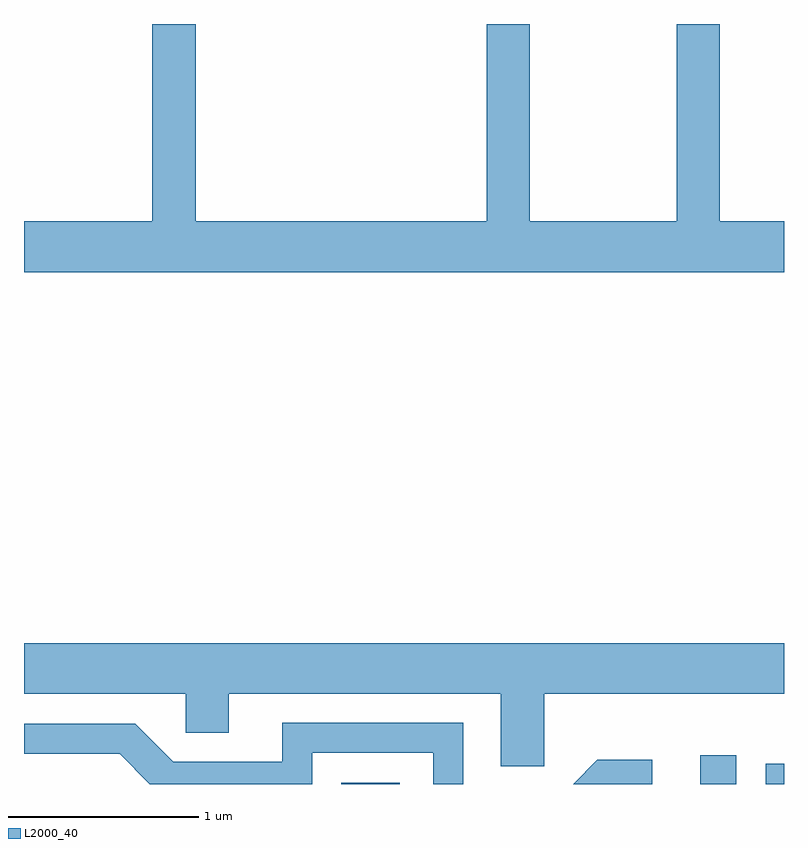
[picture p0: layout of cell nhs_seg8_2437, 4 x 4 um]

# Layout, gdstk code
import gdstk
lib = gdstk.Library(unit=1e-6, precision=1e-09)
def R(c, l, rs):  # rectangles x0, y0, x1, y1
    for r in rs: c.add(gdstk.rectangle(r[:2], r[2:], *l))
def P(c, l, *ps):  # polygons
    for p in ps: c.add(gdstk.Polygon(p, *l))
L2000_40 = (2000, 40)

nhs_seg8_2437 = lib.new_cell('nhs_seg8_2437')
R(nhs_seg8_2437, L2000_40, [(259.281,1880.342,259.589,1880.349), (261.171,1880.342,261.359,1880.494), (261.516,1880.342,261.611,1880.449)])
P(nhs_seg8_2437, L2000_40, [(261.611,1883.304),(261.274,1883.304),(261.274,1884.342),(261.046,1884.342),(261.046,1883.304),(260.274,1883.304),(260.274,1884.342),(260.046,1884.342),(260.046,1883.304),(258.514,1883.304),(258.514,1884.342),(258.286,1884.342),(258.286,1883.304),(257.611,1883.304),(257.611,1883.036),(261.611,1883.036)],
  [(260.349,1880.816),(261.611,1880.816),(261.611,1881.084),(257.611,1881.084),(257.611,1880.816),(258.461,1880.816),(258.461,1880.611),(258.689,1880.611),(258.689,1880.816),(260.121,1880.816),(260.121,1880.436),(260.349,1880.436)],
  [(259.129,1880.506),(259.766,1880.506),(259.766,1880.342),(259.924,1880.342),(259.924,1880.664),(258.971,1880.664),(258.971,1880.459),(258.397,1880.459),(258.197,1880.659),(257.611,1880.659),(257.611,1880.501),(258.114,1880.501),(258.273,1880.342),(259.129,1880.342)],
  [(260.918,1880.469),(260.629,1880.469),(260.502,1880.342),(260.918,1880.342)])

lib.write_gds('nhs_seg8_2437.gds')
